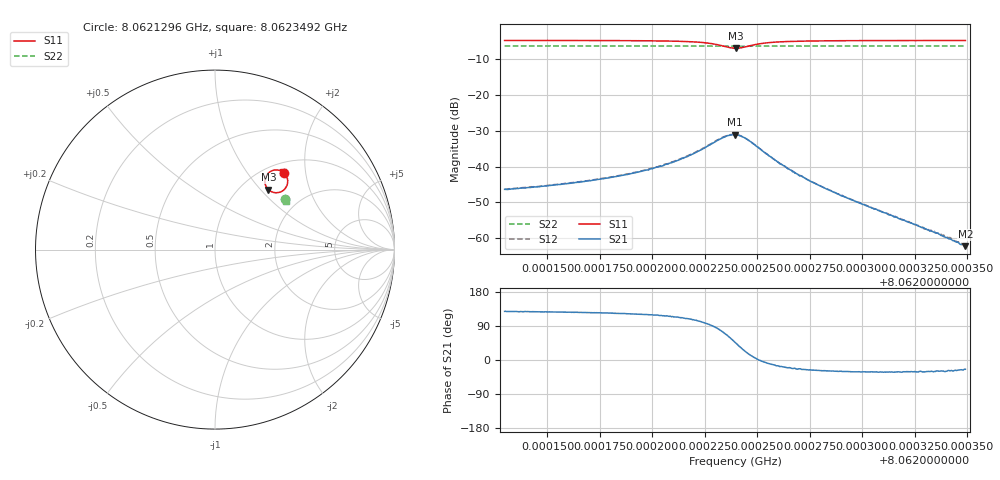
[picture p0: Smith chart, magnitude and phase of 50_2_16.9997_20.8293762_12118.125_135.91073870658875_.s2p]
#  HZ  S  RI  R  50.00
! Rohde & Schwarz Vector Network Analyzer
! Rohde-Schwarz,ZNB20-2Port,1311601062101988,3.16
! Created: UTC 3/20/2024, 10:54:16 PM
! freq[Hz]  re:S11  im:S11  re:S21  im:S21  re:S12  im:S12  re:S22  im:S22
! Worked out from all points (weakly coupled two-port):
!   401 points, 8.0621296 GHz to 8.0623492 GHz, reference 50 ohm
!   highest |S21| = -31.07 dB at 8.0622394 GHz (marker M1); lowest = -62.2 dB at 8.0623492 GHz (marker M2)
!   lowest |S11| = -7.0 dB at 8.0622399 GHz (marker M3), VSWR 2.62, Z = 66.1 + j55.2 ohm
!   |S11| at or under -10 dB: nowhere
!   |S22| runs from -6.4 to -6.3 dB; largest |S21 - S12| = 0.0022
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8.06212958e9  0.3867 0.4258  -0.00298 0.00377  -0.00277 0.00397  0.3898 0.2831
8.06214605e9  0.3891 0.423  -0.00316 0.00417  -0.00294 0.0044  0.3906 0.2821
8.06216636e9  0.3925 0.4187  -0.00356 0.00498  -0.0033 0.00523  0.3913 0.281
8.06218777e9  0.3974 0.411  -0.00411 0.00655  -0.00378 0.00691  0.392 0.2797
8.06220315e9  0.4021 0.4002  -0.00457 0.00878  -0.00406 0.00931  0.3924 0.2784
8.06221577e9  0.4051 0.382  -0.00454 0.0128  -0.00391 0.0132  0.3927 0.2771
8.0622273e9  0.3947 0.3456  -0.00111 0.0199  0.000234 0.0204  0.3919 0.275
8.06223444e9  0.3532 0.318  0.00854 0.0243  0.0107 0.0241  0.39 0.2743
8.06223719e9  0.325 0.3189  0.0146 0.0233  0.0165 0.0225  0.389 0.2748
8.06223938e9  0.3028 0.33  0.0191 0.0204  0.0206 0.019  0.3884 0.2754
8.06223993e9  0.2977 0.3341  0.02 0.0193  0.0215 0.0179  0.3881 0.2756
8.06224213e9  0.2833 0.3544  0.0224 0.0145  0.0236 0.0129  0.388 0.2765
8.06224487e9  0.2779 0.3822  0.0229 0.00834  0.0233 0.0067  0.3883 0.2777
8.06225311e9  0.3031 0.4312  0.016 -0.00145  0.0158 -0.00244  0.3902 0.2789
8.06226244e9  0.3311 0.4432  0.00979 -0.00319  0.00956 -0.00375  0.392 0.2786
8.06226903e9  0.3433 0.4441  0.00719 -0.00326  0.00706 -0.00348  0.3927 0.2781
8.06227617e9  0.352 0.4432  0.00542 -0.00273  0.00534 -0.00308  0.3933 0.2777
8.06228934e9  0.3622 0.4407  0.00348 -0.00199  0.0034 -0.00226  0.3941 0.2767
8.06231295e9  0.3718 0.4365  0.00181 -0.00111  0.00174 -0.00122  0.3952 0.2752
8.06233546e9  0.3771 0.4335  0.00103 -0.000566  0.000993 -0.000638  0.3959 0.2741
8.06234205e9  0.3783 0.4326  0.000856 -0.000462  0.000857 -0.000551  0.3962 0.2738
8.06234919e9  0.3794 0.4319  0.000705 -0.000321  0.000676 -0.000394  0.3966 0.2733
